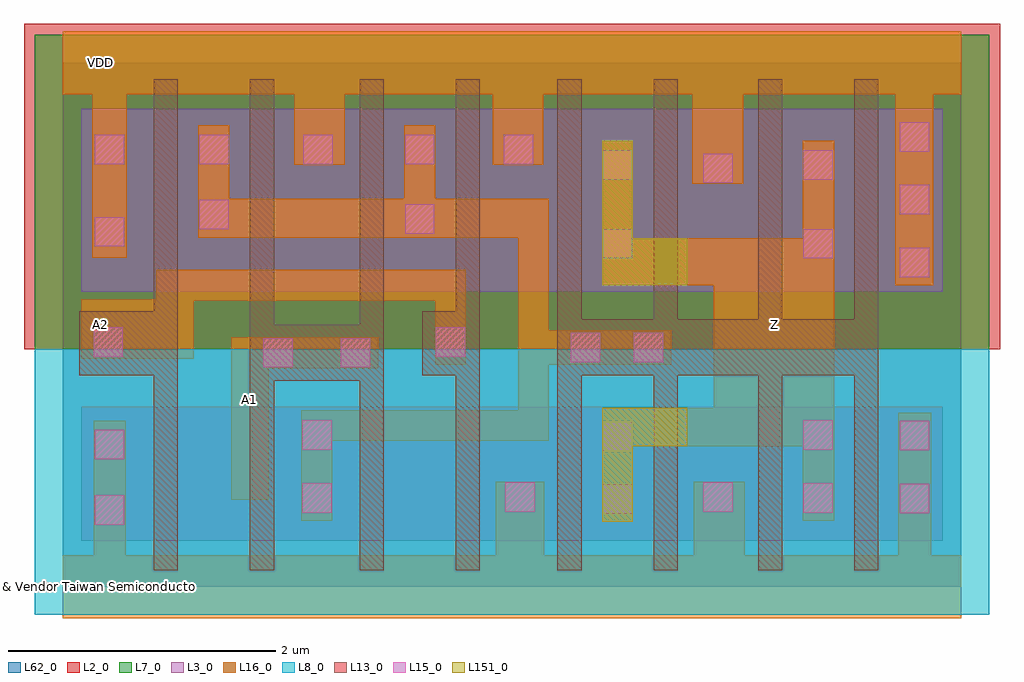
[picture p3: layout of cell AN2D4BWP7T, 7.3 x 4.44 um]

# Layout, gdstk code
import gdstk
lib = gdstk.Library(unit=1e-6, precision=1e-09)
def R(c, l, rs):  # rectangles x0, y0, x1, y1
    for r in rs: c.add(gdstk.rectangle(r[:2], r[2:], *l))
def A(c, l, x, y, w, h, nx, ny, dx, dy):  # array of equal rectangles
    R(c, l, [(x+i*dx, y+j*dy, x+i*dx+w, y+j*dy+h) for i in range(nx) for j in range(ny)])
def P(c, l, *ps):  # polygons
    for p in ps: c.add(gdstk.Polygon(p, *l))
L2_0 = (2, 0)
L3_0 = (3, 0)
L7_0 = (7, 0)
L8_0 = (8, 0)
L13_0 = (13, 0)
L15_0 = (15, 0)
L16_0 = (16, 0)
L62_0 = (62, 0)
L151_0 = (151, 0)

an2d4bwp7t = lib.new_cell('AN2D4BWP7T')
R(an2d4bwp7t, L2_0, [(-0.29,1.775,7.01,4.21)])
R(an2d4bwp7t, L3_0, [(0.14,0.345,6.58,1.345), (0.14,2.205,6.58,3.575)])
R(an2d4bwp7t, L7_0, [(-0.21,1.775,6.93,4.13)])
R(an2d4bwp7t, L8_0, [(-0.21,-0.21,6.93,1.775)])
P(an2d4bwp7t, L13_0, [(3.7,0.125),(3.7,3.795),(3.88,3.795),(3.88,2),(4.42,2),(4.42,3.795),(4.6,3.795),(4.6,2),(5.2,2),(5.2,3.795),(5.38,3.795),(5.38,2),(5.92,2),(5.92,3.795),(6.1,3.795),(6.1,0.125),(5.92,0.125),(5.92,1.58),(5.38,1.58),(5.38,0.125),(5.2,0.125),(5.2,1.58),(4.6,1.58),(4.6,0.125),(4.42,0.125),(4.42,1.58),(3.88,1.58),(3.88,0.125)],
  [(2.94,0.125),(2.94,1.58),(2.69,1.58),(2.69,2.06),(2.94,2.06),(2.94,3.795),(3.12,3.795),(3.12,0.125)],
  [(1.4,0.125),(1.4,3.795),(1.58,3.795),(1.58,1.96),(2.22,1.96),(2.22,3.795),(2.4,3.795),(2.4,0.125),(2.22,0.125),(2.22,1.54),(1.58,1.54),(1.58,0.125)],
  [(0.68,0.125),(0.68,1.58),(0.125,1.58),(0.125,2.06),(0.68,2.06),(0.68,3.795),(0.86,3.795),(0.86,0.125)])
A(an2d4bwp7t, L15_0, 6.26, 2.315, 0.22, 0.22, 1, 3, 0, 0.47)
A(an2d4bwp7t, L15_0, 0.24, 3.16, 0.22, 0.22, 3, 1, 0.78, 0)
R(an2d4bwp7t, L15_0, [(0.24,0.465,0.46,0.685), (4.04,0.545,4.26,0.765), (6.26,0.55,6.48,0.77), (1.79,0.555,2.01,0.775), (5.54,0.555,5.76,0.775), (3.31,0.56,3.53,0.78), (4.79,0.56,5.01,0.78), (0.24,0.955,0.46,1.175), (4.04,1.015,4.26,1.235), (6.26,1.02,6.48,1.24), (1.79,1.025,2.01,1.245), (5.54,1.025,5.76,1.245), (1.5,1.64,1.72,1.86), (2.08,1.64,2.3,1.86), (3.8,1.68,4.02,1.9), (4.27,1.68,4.49,1.9), (0.23,1.72,0.45,1.94), (2.79,1.72,3.01,1.94), (4.04,2.455,4.26,2.675), (5.54,2.455,5.76,2.675), (0.24,2.545,0.46,2.765), (2.56,2.64,2.78,2.86), (1.02,2.675,1.24,2.895), (4.79,3.02,5.01,3.24), (4.04,3.045,4.26,3.265), (5.54,3.045,5.76,3.265), (2.56,3.16,2.78,3.38), (3.3,3.16,3.52,3.38)])
P(an2d4bwp7t, L16_0, [(0,-0.235),(0,0.235),(0.23,0.235),(0.23,1.24),(0.47,1.24),(0.47,0.235),(3.24,0.235),(3.24,0.785),(3.6,0.785),(3.6,0.235),(4.72,0.235),(4.72,0.785),(5.1,0.785),(5.1,0.235),(6.25,0.235),(6.25,1.3),(6.495,1.3),(6.495,0.235),(6.72,0.235),(6.72,-0.235)],
  [(4.035,0.485),(4.035,1.34),(4.87,1.34),(4.87,2.255),(4.035,2.255),(4.035,3.335),(4.265,3.335),(4.265,2.605),(5.535,2.605),(5.535,3.335),(5.77,3.335),(5.77,0.495),(5.535,0.495),(5.535,1.05),(4.265,1.05),(4.265,0.485)],
  [(6.225,2.255),(6.225,3.685),(5.09,3.685),(5.09,3.015),(4.71,3.015),(4.71,3.685),(3.595,3.685),(3.595,3.155),(3.215,3.155),(3.215,3.685),(2.11,3.685),(2.11,3.155),(1.73,3.155),(1.73,3.685),(0.48,3.685),(0.48,2.46),(0.22,2.46),(0.22,3.685),(0,3.685),(0,4.155),(6.72,4.155),(6.72,3.685),(6.51,3.685),(6.51,2.255)],
  [(1.015,2.61),(1.015,3.45),(1.245,3.45),(1.245,2.9),(2.555,2.9),(2.555,3.45),(2.785,3.45),(2.785,2.9),(3.635,2.9),(3.635,1.92),(4.55,1.92),(4.55,1.66),(3.635,1.66),(3.635,1.09),(2.015,1.09),(2.015,0.495),(1.785,0.495),(1.785,1.32),(3.405,1.32),(3.405,2.61)],
  [(2.785,1.66),(2.785,2.14),(0.98,2.14),(0.98,1.705),(0.14,1.705),(0.14,2.15),(0.7,2.15),(0.7,2.37),(3.015,2.37),(3.015,1.66)],
  [(1.26,0.65),(1.26,1.865),(2.36,1.865),(2.36,1.635),(1.54,1.635),(1.54,0.65)])
R(an2d4bwp7t, L62_0, [(0,0,6.72,3.92)])
P(an2d4bwp7t, L151_0, [(4.035,0.485),(4.035,1.34),(4.67,1.34),(4.67,1.05),(4.265,1.05),(4.265,0.485)],
  [(4.035,2.255),(4.035,3.335),(4.265,3.335),(4.265,2.605),(4.67,2.605),(4.67,2.255)])
an2d4bwp7t.add(gdstk.Label('& Vendor Taiwan Semiconductor Manufacturing Corp.', (0,0), layer=63, texttype=63))
an2d4bwp7t.add(gdstk.Label('& Product tcb018gbwp7t', (0,0), layer=63, texttype=63))
an2d4bwp7t.add(gdstk.Label('& Version 270a', (0,0), layer=63, texttype=63))
an2d4bwp7t.add(gdstk.Label('& Metric 26.342', (0,0), layer=63, texttype=63))
an2d4bwp7t.add(gdstk.Label('& Distributor TSMC', (0,0), layer=63, texttype=63))
an2d4bwp7t.add(gdstk.Label('& SerialNumber 000000', (0,0), layer=63, texttype=63))
an2d4bwp7t.add(gdstk.Label('& _Instance_tag AN2D4BWP7T', (0,0), layer=63, texttype=63))
an2d4bwp7t.add(gdstk.Label('& Vendor Taiwan Semiconductor Manufacturing Corp.', (0,0), layer=11, texttype=0))
an2d4bwp7t.add(gdstk.Label('& Product tcb018gbwp7t', (0,0), layer=11, texttype=0))
an2d4bwp7t.add(gdstk.Label('& Version 270a', (0,0), layer=11, texttype=0))
an2d4bwp7t.add(gdstk.Label('& Metric 26.342', (0,0), layer=11, texttype=0))
an2d4bwp7t.add(gdstk.Label('& Distributor TSMC', (0,0), layer=11, texttype=0))
an2d4bwp7t.add(gdstk.Label('& SerialNumber 000000', (0,0), layer=11, texttype=0))
an2d4bwp7t.add(gdstk.Label('& _Instance_tag AN2D4BWP7T', (0,0), layer=11, texttype=0))
an2d4bwp7t.add(gdstk.Label('AN2D4BWP7T', (0,0), layer=59, texttype=0))
an2d4bwp7t.add(gdstk.Label('VSS', (0.28,0), layer=40, texttype=0))
an2d4bwp7t.add(gdstk.Label('VDD', (0.28,3.92), layer=40, texttype=0))
an2d4bwp7t.add(gdstk.Label('Z', (5.32,1.96), layer=40, texttype=0))
an2d4bwp7t.add(gdstk.Label('A2', (0.28,1.96), layer=40, texttype=0))
an2d4bwp7t.add(gdstk.Label('A1', (1.4,1.4), layer=40, texttype=0))

lib.write_gds('AN2D4BWP7T.gds')
